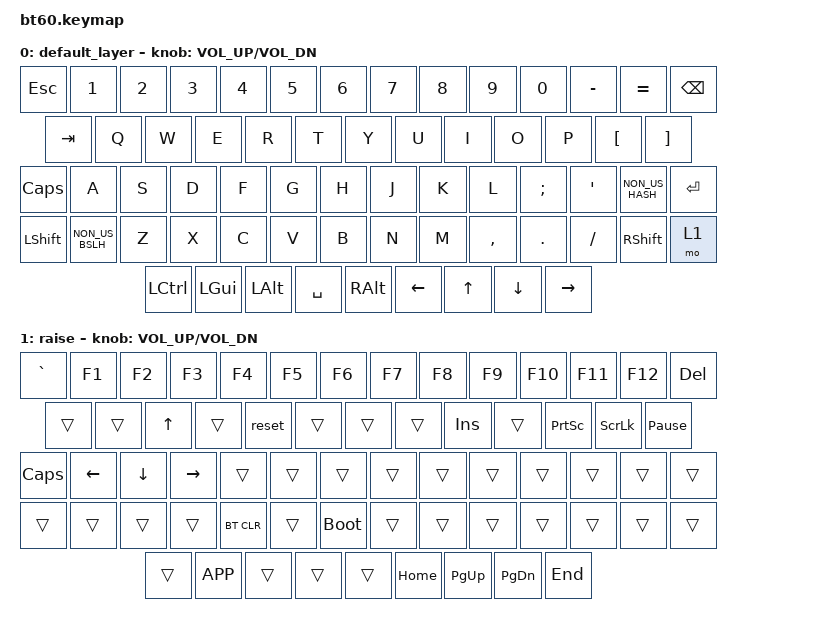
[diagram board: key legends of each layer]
#include <behaviors.dtsi>
#include <dt-bindings/zmk/keys.h>
#include <dt-bindings/zmk/bt.h>


/ {
	keymap {
		compatible = "zmk,keymap";

		default_layer {
				// ------------------------------------------------------------------------------------------
				// |  `  |  1  |  2  |  3  |  4  |  5  |  6  |  7  |  8  |  9  |  0  |  -  |  =  |   BKSP
				// | TAB  |  Q  |  W  |  E  |  R  |  T  |  Y  |  U  |  I  |  O  |  P  |  [  |  ]  |        |
				// | CAPS  |  A  |  S  |  D  |  F  |  G  |  H  |  J  |  K  |  L  |  ;  |  '  |  #  | ENTER |
				// |  SHIFT|  \ |  Z  |  X  |  C  |  V  |  B  |  N  |  M  |  ,  |  .  | /   |  SHIFT | FN  |
				// |  CTL  |  WIN  |  ALT  |            SPACE               | ALT | 1  |  MENU |  CTRL| RT |
				// ------------------------------------------------------------------------------------------
			bindings = <

				&kp ESC &kp N1 &kp N2 &kp N3 &kp N4 &kp N5 &kp N6 &kp N7 &kp  N8   &kp  N9 &kp  N0  &kp MINUS &kp EQUAL &kp BSPC
				&kp TAB  &kp Q  &kp W  &kp E  &kp R  &kp T  &kp Y  &kp U  &kp  I    &kp  O  &kp  P   &kp LBKT &kp RBKT
				&kp CAPS  &kp A  &kp S  &kp D  &kp F  &kp G  &kp H  &kp J  &kp  K    &kp  L  &kp SEMI &kp SQT &kp NON_US_HASH  &kp RET
				&kp LSHFT &kp NON_US_BSLH &kp Z  &kp X  &kp C  &kp V  &kp B  &kp N  &kp M  &kp COMMA &kp DOT &kp FSLH         &kp RSHFT &mo 1
				&kp LCTRL &kp LGUI &kp LALT            &kp SPACE                          &kp RALT  &kp LEFT &kp UP    &kp DOWN &kp RIGHT
			>;
			sensor-bindings = <&inc_dec_kp C_VOL_UP C_VOL_DN>;
		};
		raise {
			bindings = <
				&kp GRAVE &kp F1 &kp F2 &kp F3 &kp F4 &kp F5 &kp F6 &kp F7 &kp F8 &kp F9 &kp F10 &kp F11 &kp F12 &kp DEL
				&trans &trans &kp UP &trans &reset &trans &trans &trans &kp INS &trans &kp PSCRN &kp SLCK &kp PAUSE_BREAK
				&kp CAPS    &kp LEFT &kp DOWN &kp RIGHT &trans &trans &trans &trans &trans &trans &trans  &trans &trans  &trans
				&trans &trans &trans &trans &bt BT_CLR &trans &bootloader &trans &trans &trans &trans &trans  &trans &trans
				&trans &kp K_APP  &trans              &trans                            &trans   &kp HOME   &kp PG_UP &kp PG_DN &kp END
			>;
			sensor-bindings = <&inc_dec_kp C_VOL_UP C_VOL_DN>;
		};
	};
};
